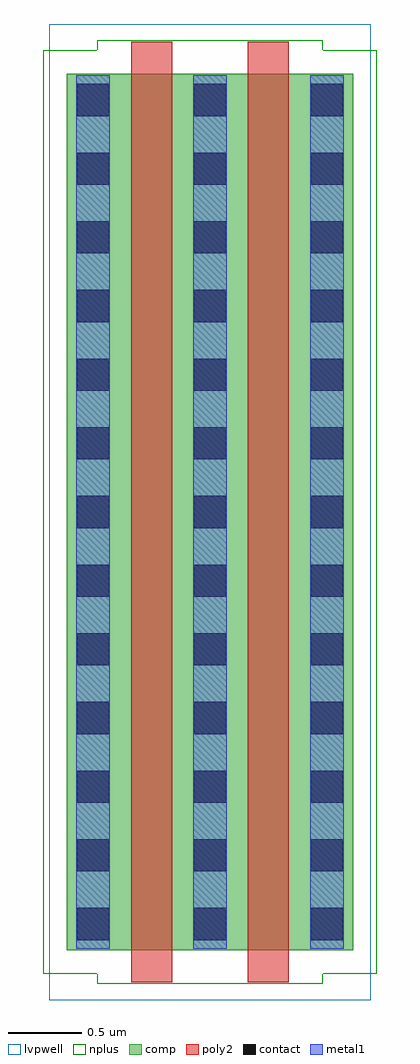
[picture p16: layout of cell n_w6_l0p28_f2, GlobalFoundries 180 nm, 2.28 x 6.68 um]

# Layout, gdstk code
import gdstk
lib = gdstk.Library(unit=1e-6, precision=1e-09)
def R(c, l, rs):  # rectangles x0, y0, x1, y1
    for r in rs: c.add(gdstk.rectangle(r[:2], r[2:], *l))
def A(c, l, x, y, w, h, nx, ny, dx, dy):  # array of equal rectangles
    R(c, l, [(x+i*dx, y+j*dy, x+i*dx+w, y+j*dy+h) for i in range(nx) for j in range(ny)])
comp = (22, 0)
poly2 = (30, 0)
nplus = (32, 0)
contact = (33, 0)
metal1 = (34, 0)
lvpwell = (204, 0)

n_w6_l0p28_f2 = lib.new_cell('n_w6_l0p28_f2')
R(n_w6_l0p28_f2, comp, [(-0.98,-3,0.98,3)])
R(n_w6_l0p28_f2, poly2, [(-0.54,-3.22,-0.26,3.22), (0.26,-3.22,0.54,3.22)])
R(n_w6_l0p28_f2, nplus, [(-0.77,-3.23,0.77,-3.16), (-1.14,-3.16,1.14,3.16), (-0.77,3.16,0.77,3.23)])
A(n_w6_l0p28_f2, contact, -0.91, -2.93, 0.22, 0.22, 3, 13, 0.8, 0.47)
A(n_w6_l0p28_f2, metal1, -0.915, -2.99, 0.23, 5.98, 3, 1, 0.8, 0)
R(n_w6_l0p28_f2, lvpwell, [(-1.1,-3.34,1.1,3.34)])

lib.write_gds('n_w6_l0p28_f2.gds')
